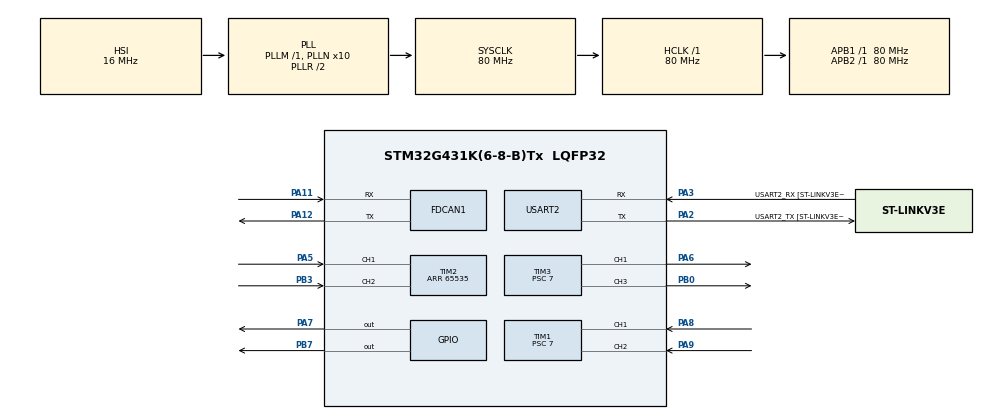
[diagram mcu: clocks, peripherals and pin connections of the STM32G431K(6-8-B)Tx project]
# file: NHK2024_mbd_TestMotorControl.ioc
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FDCAN1.CalculateBaudRateNominal=1000000
FDCAN1.CalculateTimeBitNominal=1000
FDCAN1.CalculateTimeQuantumNominal=62.5
FDCAN1.DataPrescaler=2
FDCAN1.DataSyncJumpWidth=2
FDCAN1.DataTimeSeg1=10
FDCAN1.DataTimeSeg2=9
FDCAN1.FrameFormat=FDCAN_FRAME_FD_BRS
FDCAN1.NominalPrescaler=5
FDCAN1.NominalSyncJumpWidth=2
FDCAN1.NominalTimeSeg1=13
FDCAN1.NominalTimeSeg2=2
FDCAN1.ProtocolException=DISABLE
FDCAN1.StdFiltersNbr=1
Mcu.Family=STM32G4
Mcu.Name=STM32G431K(6-8-B)Tx
Mcu.Package=LQFP32
NVIC.PriorityGroup=NVIC_PRIORITYGROUP_4
NVIC.TIM1_TRG_COM_TIM17_IRQn=true\:0\:0\:false\:false\:true\:true\:true\:true
PA11.Mode=FDCAN_Activate
PA11.Signal=FDCAN1_RX
PA12.Mode=FDCAN_Activate
PA12.Signal=FDCAN1_TX
PA13.GPIO_Label=T_SWDIO
PA13.Mode=Serial_Wire
PA13.Signal=SYS_JTMS-SWDIO
PA14.GPIO_Label=T_SWCLK
PA14.Mode=Serial_Wire
PA14.Signal=SYS_JTCK-SWCLK
PA2.GPIO_Label=USART2_TX [ST-LINKV3E_VCP_RX]
PA2.Mode=Asynchronous
PA2.Signal=USART2_TX
PA3.GPIO_Label=USART2_RX [ST-LINKV3E_VCP_TX]
PA3.Mode=Asynchronous
PA3.Signal=USART2_RX
PA5.Signal=S_TIM2_CH1
PA6.Signal=S_TIM3_CH1
PA7.Signal=GPIO_Output
PA8.Signal=S_TIM1_CH1
PA9.Signal=S_TIM1_CH2
PB0.Signal=S_TIM3_CH3
PB3.Signal=S_TIM2_CH2
PB7.GPIO_Speed=GPIO_SPEED_FREQ_MEDIUM
PB7.Signal=GPIO_Output
ProjectManager.HeapSize=0x200
ProjectManager.StackSize=0x400
ProjectManager.TargetToolchain=STM32CubeIDE
RCC.ADC12Freq_Value=80000000
RCC.AHBFreq_Value=80000000
RCC.APB1Freq_Value=80000000
RCC.APB1TimFreq_Value=80000000
RCC.APB2Freq_Value=80000000
RCC.APB2TimFreq_Value=80000000
RCC.CortexFreq_Value=80000000
RCC.EXTERNAL_CLOCK_VALUE=12288000
RCC.HCLKFreq_Value=80000000
RCC.HSE_VALUE=8000000
RCC.HSI48_VALUE=48000000
RCC.HSI_VALUE=16000000
RCC.LSE_VALUE=32768
RCC.PLLN=10
RCC.SYSCLKFreq_VALUE=80000000
RCC.SYSCLKSource=RCC_SYSCLKSOURCE_PLLCLK
RCC.USBFreq_Value=80000000
RCC.VCOOutputFreq_Value=160000000
SH.S_TIM1_CH1.0=TIM1_CH1,Encoder_Interface
SH.S_TIM1_CH2.0=TIM1_CH2,Encoder_Interface
SH.S_TIM2_CH1.0=TIM2_CH1,Encoder_Interface
SH.S_TIM2_CH2.0=TIM2_CH2,Encoder_Interface
SH.S_TIM3_CH1.0=TIM3_CH1,PWM Generation1 CH1
SH.S_TIM3_CH3.0=TIM3_CH3,PWM Generation3 CH3
TIM1.PeriodNoDither=65535
TIM1.Prescaler=7
TIM17.PeriodNoDither=999
TIM17.Prescaler=79
TIM2.PeriodNoDither=65535
TIM3.Channel-PWM\ Generation1\ CH1=TIM_CHANNEL_1
TIM3.Channel-PWM\ Generation3\ CH3=TIM_CHANNEL_3
TIM3.PeriodNoDither=999
TIM3.Prescaler=7
USART2.VirtualMode-Asynchronous=VM_ASYNC
USART2.WordLength=WORDLENGTH_8B
VP_TIM17_VS_ClockSourceINT.Mode=Enable_Timer
VP_TIM3_VS_ClockSourceINT.Mode=Internal
board=NUCLEO-G431KB

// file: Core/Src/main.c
/* USER CODE BEGIN Header */
/**
  ******************************************************************************
  * @file           : main.c
  * @brief          : Main program body
  ******************************************************************************
  * @attention
  *
  * Copyright (c) 2023 STMicroelectronics.
  * All rights reserved.
  *
  * This software is licensed under terms that can be found in the LICENSE file
  * in the root directory of this software component.
  * If no LICENSE file comes with this software, it is provided AS-IS.
  *
  ******************************************************************************
  */
/* USER CODE END Header */
#include "main.h"

/* USER CODE BEGIN Includes */
#include <stdio.h>
#include <math.h>
#include <stdlib.h>

#include "pid.h"

/* USER CODE END Includes */

/* USER CODE BEGIN PD */
#define PID_CONTROL_CYCLE 1 //milli sec

#define ENC_POLARITY0 0
#define ENC_POLARITY1 0

#define MOTOR_POLARITY0 0
#define MOTOR_POLARITY1 0

#define DEBUG 0

/* USER CODE END PD */

FDCAN_HandleTypeDef hfdcan1;

TIM_HandleTypeDef htim1;
TIM_HandleTypeDef htim2;
TIM_HandleTypeDef htim3;
TIM_HandleTypeDef htim17;

UART_HandleTypeDef huart2;

/* USER CODE BEGIN PV */
PID motor_vel_pid[2];
double kp[2] = {1, 1};
float kd[2] = {0.1, 0.1};
float ki[2] = {0.01, 0.01};
double setpoint[2] = {0, 0};

/* USER CODE END PV */

void SystemClock_Config(void);
static void MX_GPIO_Init(void);
static void MX_USART2_UART_Init(void);
static void MX_FDCAN1_Init(void);
static void MX_TIM1_Init(void);
static void MX_TIM17_Init(void);
static void MX_TIM3_Init(void);
static void MX_TIM2_Init(void);

/* USER CODE BEGIN 0 */
int __io_putchar(int ch) {
    HAL_UART_Transmit(&huart2, (uint8_t *)&ch, 1, 100);
    return ch;
}

int16_t read_encoder_value(TIM_TypeDef *TIM){
	  uint16_t enc_buff = TIM->CNT;
	  TIM->CNT = 0;
	  return (int16_t)enc_buff;
}

void HAL_TIM_PeriodElapsedCallback(TIM_HandleTypeDef *htim)
{

	if(htim == &htim17){
		float vel[2] = {};

#if ENC_POLALITY0 == 0
		vel[0] = read_encoder_value(TIM1)/PID_CONTROL_CYCLE;
#else
		vel[0] = -1*read_encoder_value(TIM1)/PID_CONTROL_CYCLE;
#endif

#if ENC_POLARITY1 == 0
		vel[1] = read_encoder_value(TIM2)/PID_CONTROL_CYCLE;
#else
		vel[1] = -1*read_encoder_value(TIM2)/PID_CONTROL_CYCLE;
#endif

		int output[2];
		int duty[2];

		for(uint8_t i=0; i<2; i++){
			output[i] = pid_compute(&motor_vel_pid[i], vel[i]);
			duty[i] = duty>htim3.Init.Period ? htim3.Init.Period : duty[i];
		}

#if MOTOR_POLARITY0 == 0
		HAL_GPIO_WritePin(GPIOB, GPIO_PIN_7, output>0 ? GPIO_PIN_RESET : GPIO_PIN_SET);
#else
		HAL_GPIO_WritePin(GPIOB, GPIO_PIN_7, output>0 ? GPIO_PIN_SET : GPIO_PIN_RESET);
#endif

#if MOTOR_POLARITY1 == 0
		HAL_GPIO_WritePin(GPIOA, GPIO_PIN_7, output>0 ? GPIO_PIN_RESET : GPIO_PIN_SET);
#else
		HAL_GPIO_WritePin(GPIOA, GPIO_PIN_7, output>0 ? GPIO_PIN_SET : GPIO_PIN_RESET);
#endif

		__HAL_TIM_SET_COMPARE(&htim3, TIM_CHANNEL_3, duty[0]);
		__HAL_TIM_SET_COMPARE(&htim3, TIM_CHANNEL_1, duty[1]);

#if DEBUG == 0
		static uint8_t index = 0;
		if(index == 50){
			printf("vel:%f, output:%d/r/n", vel[0], output[0]);
			index=0;
		}
		index++;
#endif
	}

}

/* USER CODE END 0 */

int main(void)
{

  /* MCU Configuration--------------------------------------------------------*/

  /* Reset of all peripherals, Initializes the Flash interface and the Systick. */
  HAL_Init();

  /* Configure the system clock */
  SystemClock_Config();

  /* Initialize all configured peripherals */
  MX_GPIO_Init();
  MX_USART2_UART_Init();
  MX_FDCAN1_Init();
  MX_TIM1_Init();
  MX_TIM17_Init();
  MX_TIM3_Init();
  MX_TIM2_Init();
  /* USER CODE BEGIN 2 */
  HAL_TIM_Encoder_Start(&htim1, TIM_CHANNEL_ALL);
  HAL_TIM_PWM_Start(&htim3, TIM_CHANNEL_3);
  HAL_TIM_Encoder_Start(&htim2, TIM_CHANNEL_ALL);
  HAL_TIM_PWM_Start(&htim3, TIM_CHANNEL_1);
  HAL_TIM_Base_Start_IT(&htim17); // PID control

  for(uint8_t i=0; i<2; i++){
	  pid_init(&motor_vel_pid[i], PID_CONTROL_CYCLE, kp[i],  kd[i], ki[i], setpoint[i]);
  }

  /* USER CODE END 2 */

  /* Infinite loop */
  while (1)
  {

  }
}

void SystemClock_Config(void)
{
  RCC_OscInitTypeDef RCC_OscInitStruct = {0};
  RCC_ClkInitTypeDef RCC_ClkInitStruct = {0};

  /** Configure the main internal regulator output voltage
  */
  HAL_PWREx_ControlVoltageScaling(PWR_REGULATOR_VOLTAGE_SCALE1);

  /** Initializes the RCC Oscillators according to the specified parameters
  * in the RCC_OscInitTypeDef structure.
  */
  RCC_OscInitStruct.OscillatorType = RCC_OSCILLATORTYPE_HSI;
  RCC_OscInitStruct.HSIState = RCC_HSI_ON;
  RCC_OscInitStruct.HSICalibrationValue = RCC_HSICALIBRATION_DEFAULT;
  RCC_OscInitStruct.PLL.PLLState = RCC_PLL_ON;
  RCC_OscInitStruct.PLL.PLLSource = RCC_PLLSOURCE_HSI;
  RCC_OscInitStruct.PLL.PLLM = RCC_PLLM_DIV1;
  RCC_OscInitStruct.PLL.PLLN = 10;
  RCC_OscInitStruct.PLL.PLLP = RCC_PLLP_DIV2;
  RCC_OscInitStruct.PLL.PLLQ = RCC_PLLQ_DIV2;
  RCC_OscInitStruct.PLL.PLLR = RCC_PLLR_DIV2;
  if (HAL_RCC_OscConfig(&RCC_OscInitStruct) != HAL_OK)
  {
    Error_Handler();
  }

  /** Initializes the CPU, AHB and APB buses clocks
  */
  RCC_ClkInitStruct.ClockType = RCC_CLOCKTYPE_HCLK|RCC_CLOCKTYPE_SYSCLK
                              |RCC_CLOCKTYPE_PCLK1|RCC_CLOCKTYPE_PCLK2;
  RCC_ClkInitStruct.SYSCLKSource = RCC_SYSCLKSOURCE_PLLCLK;
  RCC_ClkInitStruct.AHBCLKDivider = RCC_SYSCLK_DIV1;
  RCC_ClkInitStruct.APB1CLKDivider = RCC_HCLK_DIV1;
  RCC_ClkInitStruct.APB2CLKDivider = RCC_HCLK_DIV1;

  if (HAL_RCC_ClockConfig(&RCC_ClkInitStruct, FLASH_LATENCY_2) != HAL_OK)
  {
    Error_Handler();
  }
}

static void MX_FDCAN1_Init(void)
{

  hfdcan1.Instance = FDCAN1;
  hfdcan1.Init.ClockDivider = FDCAN_CLOCK_DIV1;
  hfdcan1.Init.FrameFormat = FDCAN_FRAME_FD_BRS;
  hfdcan1.Init.Mode = FDCAN_MODE_NORMAL;
  hfdcan1.Init.AutoRetransmission = DISABLE;
  hfdcan1.Init.TransmitPause = DISABLE;
  hfdcan1.Init.ProtocolException = DISABLE;
  hfdcan1.Init.NominalPrescaler = 5;
  hfdcan1.Init.NominalSyncJumpWidth = 2;
  hfdcan1.Init.NominalTimeSeg1 = 13;
  hfdcan1.Init.NominalTimeSeg2 = 2;
  hfdcan1.Init.DataPrescaler = 2;
  hfdcan1.Init.DataSyncJumpWidth = 2;
  hfdcan1.Init.DataTimeSeg1 = 10;
  hfdcan1.Init.DataTimeSeg2 = 9;
  hfdcan1.Init.StdFiltersNbr = 1;
  hfdcan1.Init.ExtFiltersNbr = 0;
  hfdcan1.Init.TxFifoQueueMode = FDCAN_TX_FIFO_OPERATION;
  if (HAL_FDCAN_Init(&hfdcan1) != HAL_OK)
  {
    Error_Handler();
  }

}

static void MX_TIM1_Init(void)
{

  TIM_Encoder_InitTypeDef sConfig = {0};
  TIM_MasterConfigTypeDef sMasterConfig = {0};

  htim1.Instance = TIM1;
  htim1.Init.Prescaler = 7;
  htim1.Init.CounterMode = TIM_COUNTERMODE_UP;
  htim1.Init.Period = 65535;
  htim1.Init.ClockDivision = TIM_CLOCKDIVISION_DIV1;
  htim1.Init.RepetitionCounter = 0;
  htim1.Init.AutoReloadPreload = TIM_AUTORELOAD_PRELOAD_DISABLE;
  sConfig.EncoderMode = TIM_ENCODERMODE_TI1;
  sConfig.IC1Polarity = TIM_ICPOLARITY_RISING;
  sConfig.IC1Selection = TIM_ICSELECTION_DIRECTTI;
  sConfig.IC1Prescaler = TIM_ICPSC_DIV1;
  sConfig.IC1Filter = 0;
  sConfig.IC2Polarity = TIM_ICPOLARITY_RISING;
  sConfig.IC2Selection = TIM_ICSELECTION_DIRECTTI;
  sConfig.IC2Prescaler = TIM_ICPSC_DIV1;
  sConfig.IC2Filter = 0;
  if (HAL_TIM_Encoder_Init(&htim1, &sConfig) != HAL_OK)
  {
    Error_Handler();
  }
  sMasterConfig.MasterOutputTrigger = TIM_TRGO_RESET;
  sMasterConfig.MasterOutputTrigger2 = TIM_TRGO2_RESET;
  sMasterConfig.MasterSlaveMode = TIM_MASTERSLAVEMODE_DISABLE;
  if (HAL_TIMEx_MasterConfigSynchronization(&htim1, &sMasterConfig) != HAL_OK)
  {
    Error_Handler();
  }

}

static void MX_TIM2_Init(void)
{

  TIM_Encoder_InitTypeDef sConfig = {0};
  TIM_MasterConfigTypeDef sMasterConfig = {0};

  htim2.Instance = TIM2;
  htim2.Init.Prescaler = 0;
  htim2.Init.CounterMode = TIM_COUNTERMODE_UP;
  htim2.Init.Period = 65535;
  htim2.Init.ClockDivision = TIM_CLOCKDIVISION_DIV1;
  htim2.Init.AutoReloadPreload = TIM_AUTORELOAD_PRELOAD_DISABLE;
  sConfig.EncoderMode = TIM_ENCODERMODE_TI1;
  sConfig.IC1Polarity = TIM_ICPOLARITY_RISING;
  sConfig.IC1Selection = TIM_ICSELECTION_DIRECTTI;
  sConfig.IC1Prescaler = TIM_ICPSC_DIV1;
  sConfig.IC1Filter = 0;
  sConfig.IC2Polarity = TIM_ICPOLARITY_RISING;
  sConfig.IC2Selection = TIM_ICSELECTION_DIRECTTI;
  sConfig.IC2Prescaler = TIM_ICPSC_DIV1;
  sConfig.IC2Filter = 0;
  if (HAL_TIM_Encoder_Init(&htim2, &sConfig) != HAL_OK)
  {
    Error_Handler();
  }
  sMasterConfig.MasterOutputTrigger = TIM_TRGO_RESET;
  sMasterConfig.MasterSlaveMode = TIM_MASTERSLAVEMODE_DISABLE;
  if (HAL_TIMEx_MasterConfigSynchronization(&htim2, &sMasterConfig) != HAL_OK)
  {
    Error_Handler();
  }

}

static void MX_TIM3_Init(void)
{

  TIM_ClockConfigTypeDef sClockSourceConfig = {0};
  TIM_MasterConfigTypeDef sMasterConfig = {0};
  TIM_OC_InitTypeDef sConfigOC = {0};

  htim3.Instance = TIM3;
  htim3.Init.Prescaler = 7;
  htim3.Init.CounterMode = TIM_COUNTERMODE_UP;
  htim3.Init.Period = 999;
  htim3.Init.ClockDivision = TIM_CLOCKDIVISION_DIV1;
  htim3.Init.AutoReloadPreload = TIM_AUTORELOAD_PRELOAD_DISABLE;
  if (HAL_TIM_Base_Init(&htim3) != HAL_OK)
  {
    Error_Handler();
  }
  sClockSourceConfig.ClockSource = TIM_CLOCKSOURCE_INTERNAL;
  if (HAL_TIM_ConfigClockSource(&htim3, &sClockSourceConfig) != HAL_OK)
  {
    Error_Handler();
  }
  if (HAL_TIM_PWM_Init(&htim3) != HAL_OK)
  {
    Error_Handler();
  }
  sMasterConfig.MasterOutputTrigger = TIM_TRGO_RESET;
  sMasterConfig.MasterSlaveMode = TIM_MASTERSLAVEMODE_DISABLE;
  if (HAL_TIMEx_MasterConfigSynchronization(&htim3, &sMasterConfig) != HAL_OK)
  {
    Error_Handler();
  }
  sConfigOC.OCMode = TIM_OCMODE_PWM1;
  sConfigOC.Pulse = 0;
  sConfigOC.OCPolarity = TIM_OCPOLARITY_HIGH;
  sConfigOC.OCFastMode = TIM_OCFAST_DISABLE;
  if (HAL_TIM_PWM_ConfigChannel(&htim3, &sConfigOC, TIM_CHANNEL_1) != HAL_OK)
  {
    Error_Handler();
  }
  if (HAL_TIM_PWM_ConfigChannel(&htim3, &sConfigOC, TIM_CHANNEL_3) != HAL_OK)
  {
    Error_Handler();
  }
  HAL_TIM_MspPostInit(&htim3);

}

static void MX_TIM17_Init(void)
{

  htim17.Instance = TIM17;
  htim17.Init.Prescaler = 79;
  htim17.Init.CounterMode = TIM_COUNTERMODE_UP;
  htim17.Init.Period = 999;
  htim17.Init.ClockDivision = TIM_CLOCKDIVISION_DIV1;
  htim17.Init.RepetitionCounter = 0;
  htim17.Init.AutoReloadPreload = TIM_AUTORELOAD_PRELOAD_DISABLE;
  if (HAL_TIM_Base_Init(&htim17) != HAL_OK)
  {
    Error_Handler();
  }

}

static void MX_USART2_UART_Init(void)
{

  huart2.Instance = USART2;
  huart2.Init.BaudRate = 115200;
  huart2.Init.WordLength = UART_WORDLENGTH_8B;
  huart2.Init.StopBits = UART_STOPBITS_1;
  huart2.Init.Parity = UART_PARITY_NONE;
  huart2.Init.Mode = UART_MODE_TX_RX;
  huart2.Init.HwFlowCtl = UART_HWCONTROL_NONE;
  huart2.Init.OverSampling = UART_OVERSAMPLING_16;
  huart2.Init.OneBitSampling = UART_ONE_BIT_SAMPLE_DISABLE;
  huart2.Init.ClockPrescaler = UART_PRESCALER_DIV1;
  huart2.AdvancedInit.AdvFeatureInit = UART_ADVFEATURE_NO_INIT;
  if (HAL_UART_Init(&huart2) != HAL_OK)
  {
    Error_Handler();
  }
  if (HAL_UARTEx_SetTxFifoThreshold(&huart2, UART_TXFIFO_THRESHOLD_1_8) != HAL_OK)
  {
    Error_Handler();
  }
  if (HAL_UARTEx_SetRxFifoThreshold(&huart2, UART_RXFIFO_THRESHOLD_1_8) != HAL_OK)
  {
    Error_Handler();
  }
  if (HAL_UARTEx_DisableFifoMode(&huart2) != HAL_OK)
  {
    Error_Handler();
  }

}

static void MX_GPIO_Init(void)
{
  GPIO_InitTypeDef GPIO_InitStruct = {0};

  /* GPIO Ports Clock Enable */
  __HAL_RCC_GPIOA_CLK_ENABLE();
  __HAL_RCC_GPIOB_CLK_ENABLE();

  /*Configure GPIO pin Output Level */
  HAL_GPIO_WritePin(GPIOA, GPIO_PIN_7, GPIO_PIN_RESET);

  /*Configure GPIO pin Output Level */
  HAL_GPIO_WritePin(GPIOB, GPIO_PIN_7, GPIO_PIN_RESET);

  /*Configure GPIO pin : PA7 */
  GPIO_InitStruct.Pin = GPIO_PIN_7;
  GPIO_InitStruct.Mode = GPIO_MODE_OUTPUT_PP;
  GPIO_InitStruct.Pull = GPIO_NOPULL;
  GPIO_InitStruct.Speed = GPIO_SPEED_FREQ_LOW;
  HAL_GPIO_Init(GPIOA, &GPIO_InitStruct);

  /*Configure GPIO pin : PB7 */
  GPIO_InitStruct.Pin = GPIO_PIN_7;
  GPIO_InitStruct.Mode = GPIO_MODE_OUTPUT_PP;
  GPIO_InitStruct.Pull = GPIO_NOPULL;
  GPIO_InitStruct.Speed = GPIO_SPEED_FREQ_MEDIUM;
  HAL_GPIO_Init(GPIOB, &GPIO_InitStruct);

}

void Error_Handler(void)
{
  __disable_irq();
  while (1)
  {
  }
}
